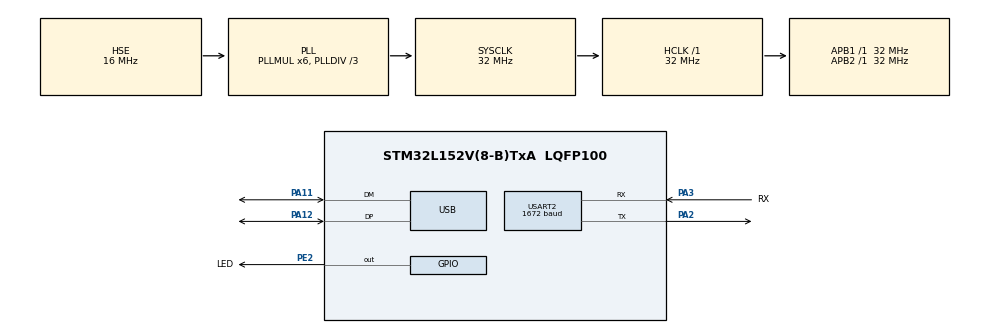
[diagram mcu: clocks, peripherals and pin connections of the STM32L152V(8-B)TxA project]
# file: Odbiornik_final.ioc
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Mcu.Family=STM32L1
Mcu.Name=STM32L152V(8-B)TxA
Mcu.Package=LQFP100
NVIC.PriorityGroup=NVIC_PRIORITYGROUP_4
NVIC.USART2_IRQn=true\:0\:0\:false\:false\:true\:true\:true
NVIC.USB_LP_IRQn=true\:0\:0\:false\:false\:true\:false\:true
PA11.Mode=Device
PA11.Signal=USB_DM
PA12.Mode=Device
PA12.Signal=USB_DP
PA13.Mode=Serial_Wire
PA13.Signal=SYS_JTMS-SWDIO
PA14.Mode=Serial_Wire
PA14.Signal=SYS_JTCK-SWCLK
PA2.Mode=Asynchronous
PA2.Signal=USART2_TX
PA3.GPIO_Label=RX
PA3.Mode=Asynchronous
PA3.Signal=USART2_RX
PE2.GPIO_Label=LED
PE2.Signal=GPIO_Output
PH0-OSC_IN.Mode=HSE-External-Oscillator
PH0-OSC_IN.Signal=RCC_OSC_IN
PH1-OSC_OUT.Mode=HSE-External-Oscillator
PH1-OSC_OUT.Signal=RCC_OSC_OUT
ProjectManager.HeapSize=0x200
ProjectManager.StackSize=0x400
ProjectManager.TargetToolchain=TrueSTUDIO
RCC.48MHZClocksFreq_Value=48000000
RCC.AHBFreq_Value=32000000
RCC.APB1Freq_Value=32000000
RCC.APB1TimFreq_Value=32000000
RCC.APB2Freq_Value=32000000
RCC.APB2TimFreq_Value=32000000
RCC.HCLKFreq_Value=32000000
RCC.HSE_VALUE=16000000
RCC.HSI_VALUE=16000000
RCC.LSE_VALUE=32768
RCC.MSI_VALUE=2097000
RCC.PLLDIV=RCC_PLL_DIV3
RCC.PLLMUL=RCC_PLL_MUL6
RCC.SYSCLKFreq_VALUE=32000000
RCC.SYSCLKSource=RCC_SYSCLKSOURCE_PLLCLK
RCC.VCOOutputFreq_Value=96000000
USART2.BaudRate=1672
USART2.Mode=MODE_RX
USART2.VirtualMode=VM_ASYNC
USB_DEVICE.CLASS_NAME_FS=HID
USB_DEVICE.VirtualMode=Hid
USB_DEVICE.VirtualModeFS=Hid_FS
VP_USB_DEVICE_VS_USB_DEVICE_HID_FS.Mode=HID_FS
board=custom

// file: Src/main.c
/* USER CODE BEGIN Header */
/**
  ******************************************************************************
  * @file           : main.c
  * @brief          : Main program body
  ******************************************************************************
  * @attention
  *
  * <h2><center>&copy; Copyright (c) 2021 STMicroelectronics.
  * All rights reserved.</center></h2>
  *
  * This software component is licensed by ST under Ultimate Liberty license
  * SLA0044, the "License"; You may not use this file except in compliance with
  * the License. You may obtain a copy of the License at:
  *                             www.st.com/SLA0044
  *
  ******************************************************************************
  */
/* USER CODE END Header */

#include "main.h"
#include "usart.h"
#include "usb_device.h"
#include "gpio.h"

/* USER CODE BEGIN Includes */
#include "usbd_hid.h"
/* USER CODE END Includes */

void SystemClock_Config(void);

/* USER CODE BEGIN 0 */
	volatile uint8_t received = 1;
	uint8_t UartBuffer = 0;

/* USER CODE END 0 */

int main(void)
{

  /* MCU Configuration--------------------------------------------------------*/

  /* Reset of all peripherals, Initializes the Flash interface and the Systick. */
  HAL_Init();

  /* Configure the system clock */
  SystemClock_Config();

  /* Initialize all configured peripherals */
  MX_GPIO_Init();
  MX_USART2_UART_Init();
  MX_USB_DEVICE_Init();
  /* USER CODE BEGIN 2 */
  extern USBD_HandleTypeDef hUsbDeviceFS;

  HAL_UART_Receive_IT(&huart2, &UartBuffer, 1);

  struct Raport{
	  uint8_t buttons;
	  int8_t X_displacement;
	  int8_t Y_displacement;
  };

  struct Raport Raport_Clicked = {0, 0, 0};
  struct Raport Raport_Idle = {0, 0, 0};

  Raport_Clicked.buttons = 0x01;
  Raport_Clicked.X_displacement = 0;
  Raport_Clicked.Y_displacement = 0;

  /* USER CODE END 2 */

  /* Infinite loop */
  while (1)
  {
	  while(received);

	  USBD_HID_SendReport(&hUsbDeviceFS, &Raport_Clicked, 3);
	  HAL_Delay(20);
	  USBD_HID_SendReport(&hUsbDeviceFS, &Raport_Idle , 3);
	  received = 1;
  }
}

void SystemClock_Config(void)
{
  RCC_OscInitTypeDef RCC_OscInitStruct = {0};
  RCC_ClkInitTypeDef RCC_ClkInitStruct = {0};

  /** Configure the main internal regulator output voltage
  */
  __HAL_PWR_VOLTAGESCALING_CONFIG(PWR_REGULATOR_VOLTAGE_SCALE1);
  /** Initializes the CPU, AHB and APB busses clocks
  */
  RCC_OscInitStruct.OscillatorType = RCC_OSCILLATORTYPE_HSE;
  RCC_OscInitStruct.HSEState = RCC_HSE_ON;
  RCC_OscInitStruct.PLL.PLLState = RCC_PLL_ON;
  RCC_OscInitStruct.PLL.PLLSource = RCC_PLLSOURCE_HSE;
  RCC_OscInitStruct.PLL.PLLMUL = RCC_PLL_MUL6;
  RCC_OscInitStruct.PLL.PLLDIV = RCC_PLL_DIV3;
  if (HAL_RCC_OscConfig(&RCC_OscInitStruct) != HAL_OK)
  {
    Error_Handler();
  }
  /** Initializes the CPU, AHB and APB busses clocks
  */
  RCC_ClkInitStruct.ClockType = RCC_CLOCKTYPE_HCLK|RCC_CLOCKTYPE_SYSCLK
                              |RCC_CLOCKTYPE_PCLK1|RCC_CLOCKTYPE_PCLK2;
  RCC_ClkInitStruct.SYSCLKSource = RCC_SYSCLKSOURCE_PLLCLK;
  RCC_ClkInitStruct.AHBCLKDivider = RCC_SYSCLK_DIV1;
  RCC_ClkInitStruct.APB1CLKDivider = RCC_HCLK_DIV1;
  RCC_ClkInitStruct.APB2CLKDivider = RCC_HCLK_DIV1;

  if (HAL_RCC_ClockConfig(&RCC_ClkInitStruct, FLASH_LATENCY_1) != HAL_OK)
  {
    Error_Handler();
  }
}

/* USER CODE BEGIN 4 */
	void HAL_UART_RxCpltCallback(UART_HandleTypeDef *huart)
	{
		if (UartBuffer == 85){
			received = 0;
			}
		HAL_UART_Receive_IT(&huart2, &UartBuffer, 1);
	}
/* USER CODE END 4 */

void Error_Handler(void)
{
}

/************************ (C) COPYRIGHT STMicroelectronics *****END OF FILE****/
